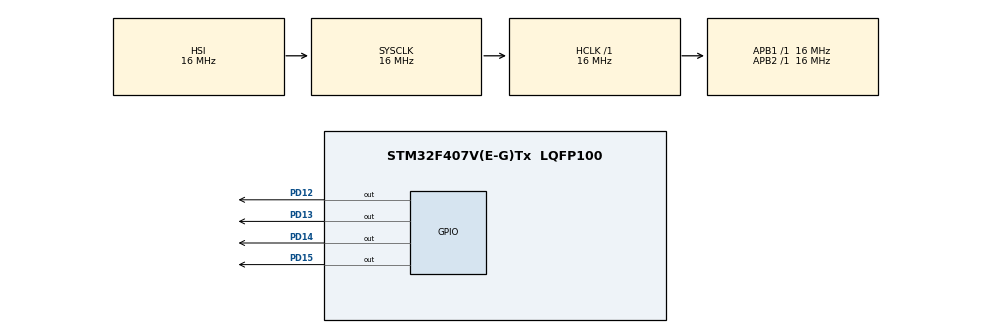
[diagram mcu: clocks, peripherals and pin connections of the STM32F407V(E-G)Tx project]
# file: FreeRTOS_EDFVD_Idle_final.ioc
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FREERTOS.Tasks01=defaultTask,24,128,StartDefaultTask,Default,NULL,Dynamic,NULL,NULL
Mcu.Family=STM32F4
Mcu.Name=STM32F407V(E-G)Tx
Mcu.Package=LQFP100
NVIC.PriorityGroup=NVIC_PRIORITYGROUP_4
NVIC.TIM3_IRQn=true\:5\:0\:false\:false\:true\:true\:true\:true\:true
PD12.GPIO_Speed=GPIO_SPEED_FREQ_HIGH
PD12.Signal=GPIO_Output
PD13.GPIO_Speed=GPIO_SPEED_FREQ_HIGH
PD13.Signal=GPIO_Output
PD14.GPIO_Speed=GPIO_SPEED_FREQ_HIGH
PD14.Signal=GPIO_Output
PD15.GPIO_Speed=GPIO_SPEED_FREQ_HIGH
PD15.Signal=GPIO_Output
ProjectManager.HeapSize=0x200
ProjectManager.StackSize=0x400
ProjectManager.TargetToolchain=STM32CubeIDE
RCC.AHBFreq_Value=16000000
RCC.APB1Freq_Value=16000000
RCC.APB2Freq_Value=16000000
RCC.CortexFreq_Value=16000000
RCC.HSE_VALUE=25000000
RCC.HSI_VALUE=16000000
RCC.LSE_VALUE=32768
RCC.SYSCLKFreq_VALUE=16000000
RCC.VCOOutputFreq_Value=192000000
VP_FREERTOS_VS_CMSIS_V2.Mode=CMSIS_V2
VP_TIM3_VS_ClockSourceINT.Mode=Internal
board=custom

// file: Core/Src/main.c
/* USER CODE BEGIN Header */
/**
  ******************************************************************************
  * @file           : main.c
  * @brief          : Main program body
  ******************************************************************************
  * @attention
  *
  * Copyright (c) 2025 STMicroelectronics.
  * All rights reserved.
  *
  * This software is licensed under terms that can be found in the LICENSE file
  * in the root directory of this software component.
  * If no LICENSE file comes with this software, it is provided AS-IS.
  *
  ******************************************************************************
  */
/* USER CODE END Header */
#include "main.h"
#include "stm32f4xx_hal.h"
#include "FreeRTOS.h"
#include "task.h"

/* USER CODE BEGIN PD */
/* Periodi e deadline in ms dei Tasks */
/* LedBlueTask */
#define LED_BLUE_START_MS		pdMS_TO_TICKS(1U)
/* DEBUG: test overflow
 * THE LINE ABOVE NEEDS TO BE COMMENTED OUT.
 * The following macro must be aligned with configINITIAL_TICK_COUNT
 * so that the task starts when the system starts.
 #define LED_BLUE_START_MS		 ( portMAX_DELAY - pdMS_TO_TICKS(14000) )
 */
#define LED_BLUE_PERIOD_MS    	pdMS_TO_TICKS(5000U)
#define LED_BLUE_DEADLINE_MS  	pdMS_TO_TICKS(5000U)
#define LED_BLUE_WCET_LO_MS  	pdMS_TO_TICKS(250U)
#define LED_BLUE_WCET_HI_MS  	pdMS_TO_TICKS(3000U)

/* LedOrangeTask */
#define LED_ORANGE_START_MS		pdMS_TO_TICKS(1U)
/* DEBUG: test overflow
 * THE LINE ABOVE NEEDS TO BE COMMENTED OUT.
 * The following macro must be aligned with configINITIAL_TICK_COUNT
 * so that the task starts when the system starts.
 #define LED_ORANGE_START_MS	 ( portMAX_DELAY - pdMS_TO_TICKS(14000) )
 */
#define LED_ORANGE_PERIOD_MS    pdMS_TO_TICKS(6000U)
#define LED_ORANGE_DEADLINE_MS  pdMS_TO_TICKS(6000U)
#define LED_ORANGE_WCET_LO_MS  	pdMS_TO_TICKS(500U)
#define LED_ORANGE_WCET_HI_MS  	pdMS_TO_TICKS(500U)

/* LedRedTask */
#define LED_RED_START_MS		pdMS_TO_TICKS(1U)
/* DEBUG: test overflow
 * THE LINE ABOVE NEEDS TO BE COMMENTED OUT.
 * The following macro must be aligned with configINITIAL_TICK_COUNT
 * so that the task starts when the system starts.
 #define LED_RED_START_MS		 ( portMAX_DELAY - pdMS_TO_TICKS(14000) )
 */
#define LED_RED_PERIOD_MS    	pdMS_TO_TICKS(10000U)
#define LED_RED_DEADLINE_MS  	pdMS_TO_TICKS(10000U)
#define LED_RED_WCET_LO_MS  	pdMS_TO_TICKS(200U)
#define LED_RED_WCET_HI_MS  	pdMS_TO_TICKS(3200U)
/* USER CODE END PD */

TIM_HandleTypeDef htim3;
static volatile BaseType_t xIdleToggleAllowed = pdTRUE;
static volatile uint8_t usCounterPeriods = 0;
static volatile uint8_t usPeriodsBeforeSwitch = 2;
extern BaseType_t xEDFVD_ModeHI;

void SystemClock_Config(void);
static void MX_GPIO_Init(void);
static void MX_TIM3_Init(void);
void LedBlueTask(void *argument);
void LedOrangeTask(void *argument);
void LedRedTask(void *argument);	// DO NOT use together with TIM3, they use the same LED

int main(void)
{

  /* MCU Configuration--------------------------------------------------------*/

  /* Reset of all peripherals, Initializes the Flash interface and the Systick. */
  HAL_Init();

  /* Configure the system clock */
  SystemClock_Config();

  /* Initialize all configured peripherals */
  MX_GPIO_Init();
  MX_TIM3_Init();

  /* USER CODE BEGIN RTOS_TIMERS */
  /* start timers, add new ones, ... */
  //HAL_TIM_Base_Start_IT(&htim3);
  /* USER CODE END RTOS_TIMERS */

  /* Create the thread(s) */
  xPeriodicTaskEDFVDCreate(LedBlueTask,
		  	  	  	  "LedBlue",
					  configMINIMAL_STACK_SIZE,
					  NULL,
					  LED_BLUE_PERIOD_MS,
					  LED_BLUE_DEADLINE_MS,
					  1,	// eCRITICALITY_HI
					  LED_BLUE_WCET_LO_MS,
					  LED_BLUE_WCET_HI_MS,
					  NULL);

  xPeriodicTaskEDFVDCreate(LedOrangeTask,
		  	  	  	  "LedOrange",
					  configMINIMAL_STACK_SIZE,
					  NULL,
					  LED_ORANGE_PERIOD_MS,
					  LED_ORANGE_DEADLINE_MS,
					  0,	// eCRITICALITY_LO
					  LED_ORANGE_WCET_LO_MS,
					  LED_ORANGE_WCET_HI_MS,
					  NULL);

  xPeriodicTaskEDFVDCreate(LedRedTask,
  		  	  	  	  "LedRed",
  					  configMINIMAL_STACK_SIZE,
  					  NULL,
  					  LED_RED_PERIOD_MS,
					  LED_RED_DEADLINE_MS,
					  1,	// eCRITICALITY_HI
					  LED_RED_WCET_LO_MS,
					  LED_RED_WCET_HI_MS,
  					  NULL);

  /* Start scheduler */
  vTaskStartScheduler();

  /* We should never get here as control is now taken by the scheduler */

  /* Infinite loop */
  while (1)
  {

  }
}

void SystemClock_Config(void)
{
  RCC_OscInitTypeDef RCC_OscInitStruct = {0};
  RCC_ClkInitTypeDef RCC_ClkInitStruct = {0};

  /** Configure the main internal regulator output voltage
  */
  __HAL_RCC_PWR_CLK_ENABLE();
  __HAL_PWR_VOLTAGESCALING_CONFIG(PWR_REGULATOR_VOLTAGE_SCALE1);

  /** Initializes the RCC Oscillators according to the specified parameters
  * in the RCC_OscInitTypeDef structure.
  */
  RCC_OscInitStruct.OscillatorType = RCC_OSCILLATORTYPE_HSI;
  RCC_OscInitStruct.HSIState = RCC_HSI_ON;
  RCC_OscInitStruct.HSICalibrationValue = RCC_HSICALIBRATION_DEFAULT;
  RCC_OscInitStruct.PLL.PLLState = RCC_PLL_NONE;
  if (HAL_RCC_OscConfig(&RCC_OscInitStruct) != HAL_OK)
  {
    Error_Handler();
  }

  /** Initializes the CPU, AHB and APB buses clocks
  */
  RCC_ClkInitStruct.ClockType = RCC_CLOCKTYPE_HCLK|RCC_CLOCKTYPE_SYSCLK
                              |RCC_CLOCKTYPE_PCLK1|RCC_CLOCKTYPE_PCLK2;
  RCC_ClkInitStruct.SYSCLKSource = RCC_SYSCLKSOURCE_HSI;
  RCC_ClkInitStruct.AHBCLKDivider = RCC_SYSCLK_DIV1;
  RCC_ClkInitStruct.APB1CLKDivider = RCC_HCLK_DIV1;
  RCC_ClkInitStruct.APB2CLKDivider = RCC_HCLK_DIV1;

  if (HAL_RCC_ClockConfig(&RCC_ClkInitStruct, FLASH_LATENCY_0) != HAL_OK)
  {
    Error_Handler();
  }
}

static void MX_TIM3_Init(void)
{

  TIM_ClockConfigTypeDef sClockSourceConfig = {0};
  TIM_MasterConfigTypeDef sMasterConfig = {0};

  htim3.Instance = TIM3;
  htim3.Init.Prescaler = 168000 - 1;	// 168 MHz / (167999+1) = 1 kHz tick
  htim3.Init.CounterMode = TIM_COUNTERMODE_UP;
  htim3.Init.Period = 500 - 1;		// 500 ticks a 1 ms = 500 ms
  htim3.Init.ClockDivision = TIM_CLOCKDIVISION_DIV1;
  htim3.Init.AutoReloadPreload = TIM_AUTORELOAD_PRELOAD_DISABLE;
  if (HAL_TIM_Base_Init(&htim3) != HAL_OK)
  {
    Error_Handler();
  }
  sClockSourceConfig.ClockSource = TIM_CLOCKSOURCE_INTERNAL;
  if (HAL_TIM_ConfigClockSource(&htim3, &sClockSourceConfig) != HAL_OK)
  {
    Error_Handler();
  }
  sMasterConfig.MasterOutputTrigger = TIM_TRGO_RESET;
  sMasterConfig.MasterSlaveMode = TIM_MASTERSLAVEMODE_DISABLE;
  if (HAL_TIMEx_MasterConfigSynchronization(&htim3, &sMasterConfig) != HAL_OK)
  {
    Error_Handler();
  }

}

static void MX_GPIO_Init(void)
{
  GPIO_InitTypeDef GPIO_InitStruct = {0};

  /* GPIO Ports Clock Enable */
  __HAL_RCC_GPIOD_CLK_ENABLE();

  /*Configure GPIO pin Output Level */
  HAL_GPIO_WritePin(GPIOD, GPIO_PIN_12|GPIO_PIN_13|GPIO_PIN_14|GPIO_PIN_15, GPIO_PIN_RESET);

  /*Configure GPIO pins : PD12 PD13 PD14 PD15 */
  GPIO_InitStruct.Pin = GPIO_PIN_12|GPIO_PIN_13|GPIO_PIN_14|GPIO_PIN_15;
  GPIO_InitStruct.Mode = GPIO_MODE_OUTPUT_PP;
  GPIO_InitStruct.Pull = GPIO_NOPULL;
  GPIO_InitStruct.Speed = GPIO_SPEED_FREQ_HIGH;
  HAL_GPIO_Init(GPIOD, &GPIO_InitStruct);

}

/* USER CODE BEGIN 4 */
/* Idle Hook called at every Idle Task cycle */
void vApplicationIdleHook( void )
{
	/* Toggle the Green LED only if it is the first execution of the idle
	 * task after the execution of another task's job.
	 */
	if(xIdleToggleAllowed == pdTRUE)
	{
		HAL_GPIO_TogglePin(GPIOD, GPIO_PIN_12);
		xIdleToggleAllowed = pdFALSE;
	}
}
/* USER CODE END 4 */

void LedBlueTask(void *argument)
{
	/* USER CODE BEGIN 5 */
	TickType_t xLastWakeTimeBlue = LED_BLUE_START_MS;
	TickType_t xWCET = LED_BLUE_WCET_LO_MS;
	/* Infinite loop */
	for(;;)
	{
		/* If the previous running task was the idle task, update the variable.
		 * In this way, if the idle task starts running again, it will toggle
		 * the Green LED.
		 */
		if(xIdleToggleAllowed == pdFALSE)
		{
			xIdleToggleAllowed = pdTRUE;
		}

		/* Turn on the Blue LED. */
		HAL_GPIO_TogglePin(GPIOD, GPIO_PIN_15);

		TickType_t xStart = xTaskGetTickCount();

		/* Using the variables usCounterPeriods and usPeriodsBeforeSwitch
		 * simulate the condition for a mode switch.
		 */
		if(usCounterPeriods < usPeriodsBeforeSwitch)
		{
			usCounterPeriods++;
			xWCET = LED_BLUE_WCET_LO_MS;
		}
		else
		{
			xWCET = LED_BLUE_WCET_HI_MS;
		}

		/* Busy wait to simulate the task's job execution time. */
		while ((xTaskGetTickCount() - xStart) < xWCET)
		{
			// LedBlueTask keep working
		}

		/* Turn off the Blue LED. */
		HAL_GPIO_TogglePin(GPIOD, GPIO_PIN_15);

		/* Put the task on hold until the next job is periodically released. */
		vTaskDelayUntil(&xLastWakeTimeBlue, LED_BLUE_PERIOD_MS);
	}
	/* USER CODE END 5 */
}

void LedOrangeTask(void *argument)
{
	/* USER CODE BEGIN 6 */
	TickType_t xLastWakeTimeOrange = LED_ORANGE_START_MS;
	/* Infinite loop */
	for(;;)
	{
		/* If the previous running task was the idle task, update the variable.
		 * In this way, if the idle task starts running again, it will toggle
		 * the Green LED.
		 */
		if(xIdleToggleAllowed == pdFALSE)
		{
			xIdleToggleAllowed = pdTRUE;
		}

		/* Turn on the Orange LED. */
		HAL_GPIO_TogglePin(GPIOD, GPIO_PIN_13);

		TickType_t xStart = xTaskGetTickCount();
		TickType_t xWCET = LED_ORANGE_WCET_LO_MS;

		/* Busy wait to simulate the task's job execution time. */
		while ((xTaskGetTickCount() - xStart) < xWCET)
		{
			// LedOrangeTask keep working
		}

		/* Turn off the Orange LED. */
		HAL_GPIO_TogglePin(GPIOD, GPIO_PIN_13);

		/* Put the task on hold until the next job is periodically released. */
		vTaskDelayUntil(&xLastWakeTimeOrange, LED_ORANGE_PERIOD_MS);
	}
	/* USER CODE END 6 */
}

void LedRedTask(void *argument)
{
	/* USER CODE BEGIN 7 */
	TickType_t xLastWakeTimeRed = LED_RED_START_MS;
	/* Infinite loop */
	for(;;)
	{
		/* If the previous running task was the idle task, update the variable.
		 * In this way, if the idle task starts running again, it will toggle
		 * the Green LED.
		 */
		if(xIdleToggleAllowed == pdFALSE)
		{
			xIdleToggleAllowed = pdTRUE;
		}

		/* Turn on the Red LED. */
		HAL_GPIO_TogglePin(GPIOD, GPIO_PIN_14);

		TickType_t xStart = xTaskGetTickCount();
		TickType_t xWCET = (xEDFVD_ModeHI == pdFALSE) ? LED_RED_WCET_LO_MS : LED_RED_WCET_HI_MS;

		/* Busy wait to simulate the task's job execution time. */
		while ((xTaskGetTickCount() - xStart) < xWCET)
		{
			// LedRedTask keep working
		}

		/* Turn off the Red LED. */
		HAL_GPIO_TogglePin(GPIOD, GPIO_PIN_14);

		/* Put the task on hold until the next job is periodically released. */
		vTaskDelayUntil(&xLastWakeTimeRed, LED_RED_PERIOD_MS);
	}
	/* USER CODE END 7 */
}

void Error_Handler(void)
{
  __disable_irq();
  while (1)
  {
  }
}
